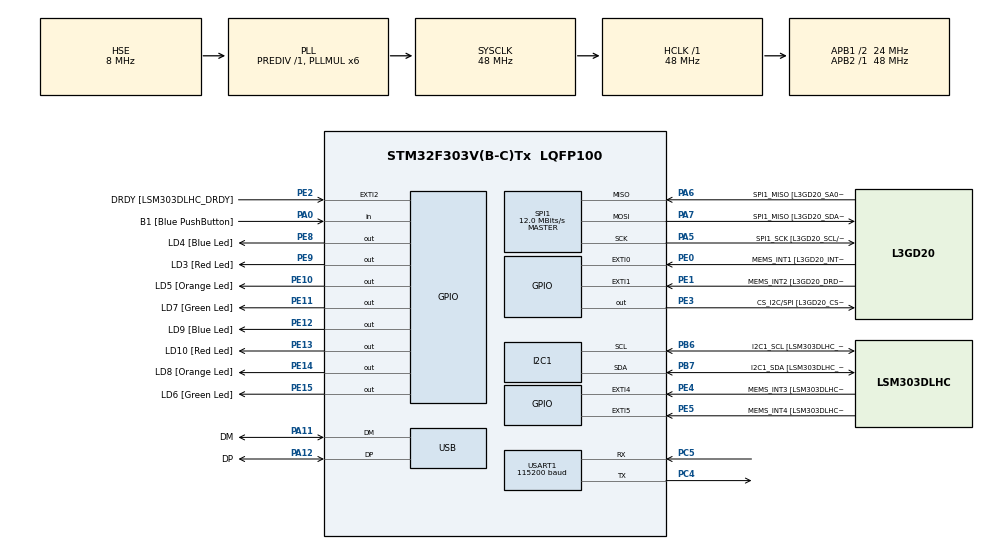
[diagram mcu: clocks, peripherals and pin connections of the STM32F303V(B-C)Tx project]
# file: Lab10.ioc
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I2C1.Timing=0x2000090E
I2C1.Timing-I2C=0x2000090E
Mcu.Family=STM32F3
Mcu.Name=STM32F303V(B-C)Tx
Mcu.Package=LQFP100
NVIC.PriorityGroup=NVIC_PRIORITYGROUP_0
NVIC.USB_LP_CAN_RX0_IRQn=true\:0\:0\:false\:false\:true\:false\:true\:true
PA0.GPIO_Label=B1 [Blue PushButton]
PA0.Signal=GPIO_Input
PA11.GPIO_Label=DM
PA11.Mode=Device
PA11.Signal=USB_DM
PA12.GPIO_Label=DP
PA12.Mode=Device
PA12.Signal=USB_DP
PA13.GPIO_Label=SWDIO
PA13.Mode=Serial_Wire
PA13.Signal=SYS_JTMS-SWDIO
PA14.GPIO_Label=SWCLK
PA14.Mode=Serial_Wire
PA14.Signal=SYS_JTCK-SWCLK
PA5.GPIO_Label=SPI1_SCK [L3GD20_SCL/SPC]
PA5.Mode=Full_Duplex_Master
PA5.Signal=SPI1_SCK
PA6.GPIO_Label=SPI1_MISO [L3GD20_SA0/SDO]
PA6.Mode=Full_Duplex_Master
PA6.Signal=SPI1_MISO
PA7.GPIO_Label=SPI1_MISO [L3GD20_SDA/SDI/SDO]
PA7.Mode=Full_Duplex_Master
PA7.Signal=SPI1_MOSI
PB3.GPIO_Label=SWO
PB3.Signal=SYS_JTDO-TRACESWO
PB6.GPIO_Label=I2C1_SCL [LSM303DLHC_SCL]
PB6.GPIO_Pu=GPIO_PULLUP
PB6.Mode=I2C
PB6.Signal=I2C1_SCL
PB7.GPIO_Label=I2C1_SDA [LSM303DLHC_SDA]
PB7.GPIO_Pu=GPIO_PULLUP
PB7.Mode=I2C
PB7.Signal=I2C1_SDA
PC14-OSC32_IN.GPIO_Label=OSC32_IN
PC14-OSC32_IN.Signal=RCC_OSC32_IN
PC15-OSC32_OUT.GPIO_Label=OSC32_OUT
PC15-OSC32_OUT.Signal=RCC_OSC32_OUT
PC4.Mode=Asynchronous
PC4.Signal=USART1_TX
PC5.Mode=Asynchronous
PC5.Signal=USART1_RX
PE0.GPIO_Label=MEMS_INT1 [L3GD20_INT1]
PE0.GPIO_ModeDefaultEXTI=GPIO_MODE_EVT_RISING
PE0.Signal=GPXTI0
PE1.GPIO_Label=MEMS_INT2 [L3GD20_DRDY/INT2]
PE1.GPIO_ModeDefaultEXTI=GPIO_MODE_EVT_RISING
PE1.Signal=GPXTI1
PE10.GPIO_Label=LD5 [Orange Led]
PE10.Signal=GPIO_Output
PE11.GPIO_Label=LD7 [Green Led]
PE11.Signal=GPIO_Output
PE12.GPIO_Label=LD9 [Blue Led]
PE12.Signal=GPIO_Output
PE13.GPIO_Label=LD10 [Red Led]
PE13.Signal=GPIO_Output
PE14.GPIO_Label=LD8 [Orange Led]
PE14.Signal=GPIO_Output
PE15.GPIO_Label=LD6 [Green Led]
PE15.Signal=GPIO_Output
PE2.GPIO_Label=DRDY [LSM303DLHC_DRDY]
PE2.GPIO_ModeDefaultEXTI=GPIO_MODE_EVT_RISING
PE2.Signal=GPXTI2
PE3.GPIO_Label=CS_I2C/SPI [L3GD20_CS_I2C/SPI]
PE3.Signal=GPIO_Output
PE4.GPIO_Label=MEMS_INT3 [LSM303DLHC_INT1]
PE4.GPIO_ModeDefaultEXTI=GPIO_MODE_EVT_RISING
PE4.Signal=GPXTI4
PE5.GPIO_Label=MEMS_INT4 [LSM303DLHC_INT2]
PE5.GPIO_ModeDefaultEXTI=GPIO_MODE_EVT_RISING
PE5.Signal=GPXTI5
PE8.GPIO_Label=LD4 [Blue Led]
PE8.Signal=GPIO_Output
PE9.GPIO_Label=LD3 [Red Led]
PE9.Signal=GPIO_Output
PF0-OSC_IN.GPIO_Label=OSC_IN
PF0-OSC_IN.Mode=HSE-External-Clock-Source
PF0-OSC_IN.Signal=RCC_OSC_IN
PF1-OSC_OUT.GPIO_Label=OSC_OUT
PF1-OSC_OUT.Signal=RCC_OSC_OUT
ProjectManager.HeapSize=0x200
ProjectManager.StackSize=0x400
ProjectManager.TargetToolchain=CMake
RCC.AHBFreq_Value=48000000
RCC.APB1CLKDivider=RCC_HCLK_DIV2
RCC.APB1Freq_Value=24000000
RCC.APB1TimFreq_Value=48000000
RCC.APB2Freq_Value=48000000
RCC.APB2TimFreq_Value=48000000
RCC.CortexFreq_Value=48000000
RCC.HCLKFreq_Value=48000000
RCC.HSE_VALUE=8000000
RCC.HSI_VALUE=8000000
RCC.LSE_VALUE=32768
RCC.PLLMUL=RCC_PLL_MUL6
RCC.SYSCLKFreq_VALUE=48000000
RCC.SYSCLKSourceVirtual=RCC_SYSCLKSOURCE_PLLCLK
RCC.USBFreq_Value=48000000
SPI1.BaudRatePrescaler=SPI_BAUDRATEPRESCALER_4
SPI1.BaudRatePrescaler-Full_Duplex_Master=SPI_BAUDRATEPRESCALER_2
SPI1.CalculateBaudRate=12.0 MBits/s
SPI1.CalculateBaudRate-Full_Duplex_Master=24.0 MBits/s
SPI1.Direction=SPI_DIRECTION_2LINES
SPI1.Mode=SPI_MODE_MASTER
SPI1.Mode-Full_Duplex_Master=SPI_MODE_MASTER
SPI1.VirtualType=VM_MASTER
USART1.BaudRate=115200
USART1.VirtualMode-Asynchronous=VM_ASYNC
USB_DEVICE.CLASS_NAME_FS=CDC
USB_DEVICE.VirtualMode=Cdc
USB_DEVICE.VirtualModeFS=Cdc_FS
VP_USB_DEVICE_VS_USB_DEVICE_CDC_FS.Mode=CDC_FS
board=STM32F3DISCOVERY

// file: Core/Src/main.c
/* USER CODE BEGIN Header */
/**
  ******************************************************************************
  * @file           : main.c
  * @brief          : Main program body
  ******************************************************************************
  * @attention
  *
  * Copyright (c) 2026 STMicroelectronics.
  * All rights reserved.
  *
  * This software is licensed under terms that can be found in the LICENSE file
  * in the root directory of this software component.
  * If no LICENSE file comes with this software, it is provided AS-IS.
  *
  ******************************************************************************
  */
/* USER CODE END Header */
#include "main.h"
#include "usb_device.h"

/* USER CODE BEGIN Includes */
#include <stdio.h>
#include <stdlib.h>
#include <string.h>
#include "heap_driver.h"

/* USER CODE END Includes */

I2C_HandleTypeDef hi2c1;

SPI_HandleTypeDef hspi1;

UART_HandleTypeDef huart1;

void SystemClock_Config(void);
static void MX_GPIO_Init(void);
static void MX_I2C1_Init(void);
static void MX_SPI1_Init(void);
static void MX_USART1_UART_Init(void);

/* USER CODE BEGIN 0 */

//TASK 1
void uart_print(const char *str)
{
    HAL_StatusTypeDef status;

    status = HAL_UART_Transmit(
        &huart1,
        (uint8_t *)str,
        (uint16_t)strlen(str),
        1000
    );

    if (status != HAL_OK)
    {
        Error_Handler();
    }
}
void task1(void)
{
    const int n = 10;
    char buffer[100];

    int *arr1 = NULL;
    int *arr2 = NULL;

    uart_print("\r\n===== LAB 10 TASK 1 =====\r\n");

    // STEP 1: Allocate memory using malloc()
    arr1 = (int *)malloc(n * sizeof(int));

    if (arr1 == NULL)
    {
        uart_print("ERROR: malloc failed!\r\n");
        return;
    }

    // STEP 2: Initialize malloc array
    for (int i = 0; i < n; i++)
    {
        arr1[i] = i * 2;
    }

    // STEP 3: Allocate memory using calloc()
    arr2 = (int *)calloc(n, sizeof(int));

    if (arr2 == NULL)
    {
        uart_print("ERROR: calloc failed!\r\n");
        free(arr1);
        arr1 = NULL;
        return;
    }

    // STEP 4: Verify calloc initializes elements to zero
    uart_print("\r\nInitial calloc values:\r\n");

    for (int i = 0; i < n; i++)
    {
        sprintf(buffer, "%d ", arr2[i]);
        uart_print(buffer);
    }

    uart_print("\r\n");

    // STEP 5: Initialize calloc array
    for (int i = 0; i < n; i++)
    {
        arr2[i] = i + 1;
    }

    // STEP 6: Print malloc array
    uart_print("\r\nArray 1 (malloc):\r\n");

    for (int i = 0; i < n; i++)
    {
        sprintf(buffer, "%d ", arr1[i]);
        uart_print(buffer);
    }

    uart_print("\r\n");

    // STEP 7: Print calloc array
    uart_print("\r\nArray 2 (calloc):\r\n");

    for (int i = 0; i < n; i++)
    {
        sprintf(buffer, "%d ", arr2[i]);
        uart_print(buffer);
    }

    uart_print("\r\n");

    // STEP 8: Free allocated memory
    free(arr1);
    free(arr2);

    // STEP 9: Set pointers to NULL
    arr1 = NULL;
    arr2 = NULL;

    uart_print("\r\nMemory successfully freed!\r\n");

    if (arr1 == NULL && arr2 == NULL)
    {
        uart_print("Both pointers cleared!\r\n");
    }

    uart_print("\r\n===== TASK 1 COMPLETED =====\r\n");
}

//TASK2
void task2(void)
{
    char msg[100];

    uart_print("\r\n");
    uart_print("=== Custom Heap Driver (Direct SRAM) ===\r\n");

    // Initialize our custom heap
    heap_init();

    // Allocate 64 bytes for each block
    char *block1 = (char *)heap_alloc(64);
    char *block2 = (char *)heap_alloc(64);

    // Check allocation
    if (block1 == NULL || block2 == NULL)
    {
        uart_print("ERROR: Heap allocation failed!\r\n");

        heap_free(block1);
        heap_free(block2);

        return;
    }

    // Display allocated addresses
    snprintf(msg, sizeof(msg),
             "Block 1 address: 0x%08lX\r\n",
             (unsigned long)(uintptr_t)block1);
    uart_print(msg);

    snprintf(msg, sizeof(msg),
             "Block 2 address: 0x%08lX\r\n",
             (unsigned long)(uintptr_t)block2);
    uart_print(msg);

    // Store data in allocated SRAM
    strcpy(block1, "Data in Block 1");
    strcpy(block2, "Text from Block 2");

    // Print data through USART1
    uart_print("\r\n");

    uart_print(block1);
    uart_print("\r\n");

    uart_print(block2);
    uart_print("\r\n");

    // Release both allocated blocks
    heap_free(block1);
    heap_free(block2);

    // Clear pointers
    block1 = NULL;
    block2 = NULL;

    uart_print("\r\nBlocks freed.\r\n");

    if (block1 == NULL && block2 == NULL)
    {
        uart_print("Pointers cleared successfully.\r\n");
    }

    uart_print("=== TASK 2 COMPLETED ===\r\n");
}
/* USER CODE END 0 */

int main(void)
{

  /* MCU Configuration--------------------------------------------------------*/

  /* Reset of all peripherals, Initializes the Flash interface and the Systick. */
  HAL_Init();

  /* Configure the system clock */
  SystemClock_Config();

  /* Initialize all configured peripherals */
  MX_GPIO_Init();
  MX_I2C1_Init();
  MX_SPI1_Init();
  MX_USART1_UART_Init();
  MX_USB_DEVICE_Init();
  /* USER CODE BEGIN 2 */

  HAL_Delay(1000);

  /* USER CODE END 2 */

  /* Infinite loop */
  while (1)
  {

    /* USER CODE BEGIN 3 */

    //TASK1
    task1();
    HAL_Delay(5000);

    //TASK2
    // task2();
    // HAL_Delay(5000);

  }

  /* USER CODE END 3 */
}

void SystemClock_Config(void)
{
  RCC_OscInitTypeDef RCC_OscInitStruct = {0};
  RCC_ClkInitTypeDef RCC_ClkInitStruct = {0};
  RCC_PeriphCLKInitTypeDef PeriphClkInit = {0};

  /** Initializes the RCC Oscillators according to the specified parameters
  * in the RCC_OscInitTypeDef structure.
  */
  RCC_OscInitStruct.OscillatorType = RCC_OSCILLATORTYPE_HSI|RCC_OSCILLATORTYPE_HSE;
  RCC_OscInitStruct.HSEState = RCC_HSE_BYPASS;
  RCC_OscInitStruct.HSEPredivValue = RCC_HSE_PREDIV_DIV1;
  RCC_OscInitStruct.HSIState = RCC_HSI_ON;
  RCC_OscInitStruct.HSICalibrationValue = RCC_HSICALIBRATION_DEFAULT;
  RCC_OscInitStruct.PLL.PLLState = RCC_PLL_ON;
  RCC_OscInitStruct.PLL.PLLSource = RCC_PLLSOURCE_HSE;
  RCC_OscInitStruct.PLL.PLLMUL = RCC_PLL_MUL6;
  if (HAL_RCC_OscConfig(&RCC_OscInitStruct) != HAL_OK)
  {
    Error_Handler();
  }

  /** Initializes the CPU, AHB and APB buses clocks
  */
  RCC_ClkInitStruct.ClockType = RCC_CLOCKTYPE_HCLK|RCC_CLOCKTYPE_SYSCLK
                              |RCC_CLOCKTYPE_PCLK1|RCC_CLOCKTYPE_PCLK2;
  RCC_ClkInitStruct.SYSCLKSource = RCC_SYSCLKSOURCE_PLLCLK;
  RCC_ClkInitStruct.AHBCLKDivider = RCC_SYSCLK_DIV1;
  RCC_ClkInitStruct.APB1CLKDivider = RCC_HCLK_DIV2;
  RCC_ClkInitStruct.APB2CLKDivider = RCC_HCLK_DIV1;

  if (HAL_RCC_ClockConfig(&RCC_ClkInitStruct, FLASH_LATENCY_1) != HAL_OK)
  {
    Error_Handler();
  }
  PeriphClkInit.PeriphClockSelection = RCC_PERIPHCLK_USB|RCC_PERIPHCLK_USART1
                              |RCC_PERIPHCLK_I2C1;
  PeriphClkInit.Usart1ClockSelection = RCC_USART1CLKSOURCE_PCLK2;
  PeriphClkInit.I2c1ClockSelection = RCC_I2C1CLKSOURCE_HSI;
  PeriphClkInit.USBClockSelection = RCC_USBCLKSOURCE_PLL;
  if (HAL_RCCEx_PeriphCLKConfig(&PeriphClkInit) != HAL_OK)
  {
    Error_Handler();
  }
}

static void MX_I2C1_Init(void)
{

  hi2c1.Instance = I2C1;
  hi2c1.Init.Timing = 0x2000090E;
  hi2c1.Init.OwnAddress1 = 0;
  hi2c1.Init.AddressingMode = I2C_ADDRESSINGMODE_7BIT;
  hi2c1.Init.DualAddressMode = I2C_DUALADDRESS_DISABLE;
  hi2c1.Init.OwnAddress2 = 0;
  hi2c1.Init.OwnAddress2Masks = I2C_OA2_NOMASK;
  hi2c1.Init.GeneralCallMode = I2C_GENERALCALL_DISABLE;
  hi2c1.Init.NoStretchMode = I2C_NOSTRETCH_DISABLE;
  if (HAL_I2C_Init(&hi2c1) != HAL_OK)
  {
    Error_Handler();
  }

  /** Configure Analogue filter
  */
  if (HAL_I2CEx_ConfigAnalogFilter(&hi2c1, I2C_ANALOGFILTER_ENABLE) != HAL_OK)
  {
    Error_Handler();
  }

  /** Configure Digital filter
  */
  if (HAL_I2CEx_ConfigDigitalFilter(&hi2c1, 0) != HAL_OK)
  {
    Error_Handler();
  }

}

static void MX_SPI1_Init(void)
{

  /* SPI1 parameter configuration*/
  hspi1.Instance = SPI1;
  hspi1.Init.Mode = SPI_MODE_MASTER;
  hspi1.Init.Direction = SPI_DIRECTION_2LINES;
  hspi1.Init.DataSize = SPI_DATASIZE_4BIT;
  hspi1.Init.CLKPolarity = SPI_POLARITY_LOW;
  hspi1.Init.CLKPhase = SPI_PHASE_1EDGE;
  hspi1.Init.NSS = SPI_NSS_SOFT;
  hspi1.Init.BaudRatePrescaler = SPI_BAUDRATEPRESCALER_4;
  hspi1.Init.FirstBit = SPI_FIRSTBIT_MSB;
  hspi1.Init.TIMode = SPI_TIMODE_DISABLE;
  hspi1.Init.CRCCalculation = SPI_CRCCALCULATION_DISABLE;
  hspi1.Init.CRCPolynomial = 7;
  hspi1.Init.CRCLength = SPI_CRC_LENGTH_DATASIZE;
  hspi1.Init.NSSPMode = SPI_NSS_PULSE_ENABLE;
  if (HAL_SPI_Init(&hspi1) != HAL_OK)
  {
    Error_Handler();
  }

}

static void MX_USART1_UART_Init(void)
{

  huart1.Instance = USART1;
  huart1.Init.BaudRate = 115200;
  huart1.Init.WordLength = UART_WORDLENGTH_8B;
  huart1.Init.StopBits = UART_STOPBITS_1;
  huart1.Init.Parity = UART_PARITY_NONE;
  huart1.Init.Mode = UART_MODE_TX_RX;
  huart1.Init.HwFlowCtl = UART_HWCONTROL_NONE;
  huart1.Init.OverSampling = UART_OVERSAMPLING_16;
  huart1.Init.OneBitSampling = UART_ONE_BIT_SAMPLE_DISABLE;
  huart1.AdvancedInit.AdvFeatureInit = UART_ADVFEATURE_NO_INIT;
  if (HAL_UART_Init(&huart1) != HAL_OK)
  {
    Error_Handler();
  }

}

static void MX_GPIO_Init(void)
{
  GPIO_InitTypeDef GPIO_InitStruct = {0};

  /* GPIO Ports Clock Enable */
  __HAL_RCC_GPIOE_CLK_ENABLE();
  __HAL_RCC_GPIOC_CLK_ENABLE();
  __HAL_RCC_GPIOF_CLK_ENABLE();
  __HAL_RCC_GPIOA_CLK_ENABLE();
  __HAL_RCC_GPIOB_CLK_ENABLE();

  /*Configure GPIO pin Output Level */
  HAL_GPIO_WritePin(GPIOE, CS_I2C_SPI_Pin|LD4_Pin|LD3_Pin|LD5_Pin
                          |LD7_Pin|LD9_Pin|LD10_Pin|LD8_Pin
                          |LD6_Pin, GPIO_PIN_RESET);

  /*Configure GPIO pins : DRDY_Pin MEMS_INT3_Pin MEMS_INT4_Pin MEMS_INT1_Pin
                           MEMS_INT2_Pin */
  GPIO_InitStruct.Pin = DRDY_Pin|MEMS_INT3_Pin|MEMS_INT4_Pin|MEMS_INT1_Pin
                          |MEMS_INT2_Pin;
  GPIO_InitStruct.Mode = GPIO_MODE_EVT_RISING;
  GPIO_InitStruct.Pull = GPIO_NOPULL;
  HAL_GPIO_Init(GPIOE, &GPIO_InitStruct);

  /*Configure GPIO pins : CS_I2C_SPI_Pin LD4_Pin LD3_Pin LD5_Pin
                           LD7_Pin LD9_Pin LD10_Pin LD8_Pin
                           LD6_Pin */
  GPIO_InitStruct.Pin = CS_I2C_SPI_Pin|LD4_Pin|LD3_Pin|LD5_Pin
                          |LD7_Pin|LD9_Pin|LD10_Pin|LD8_Pin
                          |LD6_Pin;
  GPIO_InitStruct.Mode = GPIO_MODE_OUTPUT_PP;
  GPIO_InitStruct.Pull = GPIO_NOPULL;
  GPIO_InitStruct.Speed = GPIO_SPEED_FREQ_LOW;
  HAL_GPIO_Init(GPIOE, &GPIO_InitStruct);

  /*Configure GPIO pin : B1_Pin */
  GPIO_InitStruct.Pin = B1_Pin;
  GPIO_InitStruct.Mode = GPIO_MODE_INPUT;
  GPIO_InitStruct.Pull = GPIO_NOPULL;
  HAL_GPIO_Init(B1_GPIO_Port, &GPIO_InitStruct);

}

void Error_Handler(void)
{
  __disable_irq();
  while (1)
  {
  }
}
